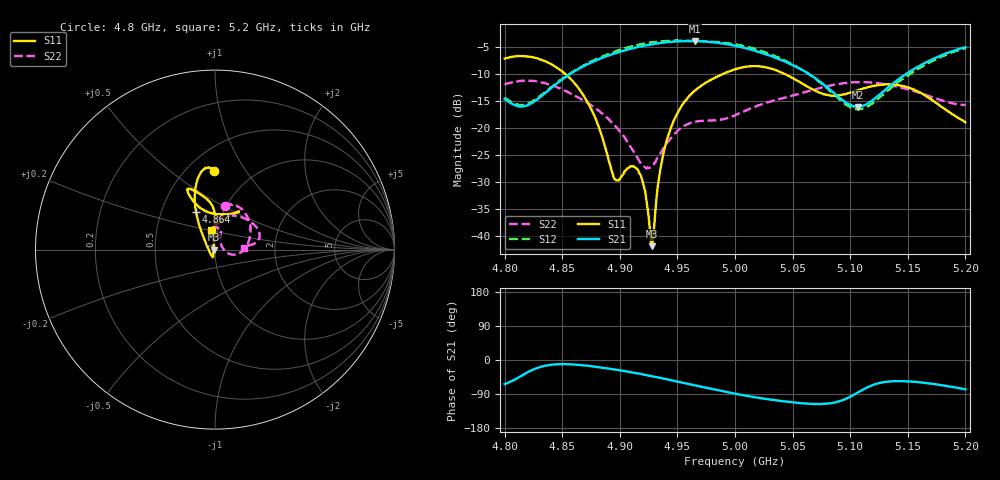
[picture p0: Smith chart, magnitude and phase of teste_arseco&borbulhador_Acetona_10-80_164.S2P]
! Network Analyzer HP8722D
! Hewlett-Packard
! Data name: Linha & Wilkinson
! Saver's name: Rodrigo Anjos
! Comments: Teste da utilização de aquisição
! continua pelo VNA HP8722D
! Time and date: 25/4/2025 16:38
!  Frequency  S11  S21  S12  S22
# HZ  S  MA R 50
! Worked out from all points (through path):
!   401 points, 4.8 GHz to 5.2 GHz, reference 50 ohm
!   highest |S21| = -3.99 dB at 4.965 GHz (marker M1); lowest = -16.1 dB at 5.107 GHz (marker M2)
!   lowest |S11| = -41.9 dB at 4.928 GHz (marker M3), VSWR 1.02, Z = 49.2 + j0.0153 ohm
!   |S11| at or under -10 dB: 4.852 GHz to 4.99 GHz (137.9 MHz wide, 2.8 % of centre); 5.042 GHz to end of sweep
!   |S22| runs from -27.6 to -11.3 dB; largest |S21 - S12| = 1.2
!   S11 on the Smith chart (normalised r, x): 4.8 GHz: 0.67, +0.72; 4.864 GHz: 0.75, +0.33; 5.2 GHz: 0.94, +0.21
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4.8e9  0.4354 90.8  0.1849 -63.6  0.1907 69.8  0.2501 77.0
4.82e9  0.4538 97.2  0.1612 -32.2  0.1667 98.4  0.2724 61.9
4.844e9  0.3667 107.0  0.2496 -11.5  0.2529 119.2  0.2407 35.4
4.864e9  0.2333 116.8  0.3492 -12.7  0.3517 121.1  0.1898 12.2
4.867e9  0.2101 118.5  0.3629 -13.8  0.3666 120.8  0.1825 8.9
4.88e9  0.1133 128.7  0.4229 -18.2  0.4332 118.3  0.1482 -4.9
4.896e9  0.03322 -167.9  0.4877 -25.3  0.5074 113.1  0.104 -15.8
4.91e9  0.04388 -107.8  0.5385 -32.5  0.5645 107.2  0.06467 -13.1
4.917e9  0.03781 -105.2  0.5614 -36.4  0.5876 103.6  0.04907 -0.5
4.921e9  0.02836 -108.8  0.5724 -38.7  0.5995 101.3  0.04386 13.0
4.928e9  0.008034 178.9  0.5904 -43.0  0.6168 97.1  0.04449 40.3
4.934e9  0.0341 100.6  0.6033 -46.7  0.6269 93.4  0.05546 57.6
4.939e9  0.06464 93.5  0.613 -49.7  0.6339 90.0  0.06734 64.8
4.946e9  0.1108 90.2  0.6226 -54.3  0.6369 85.7  0.08498 69.5
4.965e9  0.2194 91.3  0.6317 -67.0  0.6366 73.4  0.1136 71.4
5e9  0.3466 109.2  0.5728 -88.9  0.5913 50.8  0.1303 88.4
5.029e9  0.3571 115.2  0.4669 -103.7  0.4852 34.2  0.1722 85.7
5.067e9  0.2273 105.5  0.3002 -115.8  0.2978 23.6  0.2223 57.3
5.107e9  0.223 64.3  0.1559 -85.2  0.1479 57.9  0.2637 24.2
5.134e9  0.2512 57.7  0.2405 -56.7  0.2263 88.8  0.248 12.4
5.169e9  0.1861 70.3  0.418 -62.0  0.4007 84.9  0.1948 6.9
5.2e9  0.112 100.8  0.5544 -77.4  0.5442 70.2  0.1618 3.9
